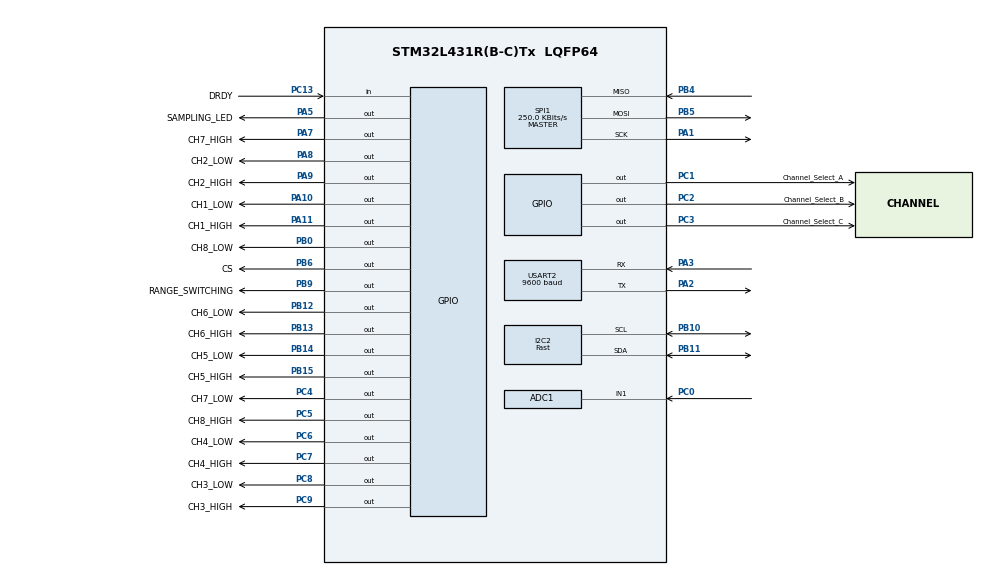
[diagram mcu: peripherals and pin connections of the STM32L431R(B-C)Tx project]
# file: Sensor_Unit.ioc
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ADC1.Channel-1\#ChannelRegularConversion=ADC_CHANNEL_1
ADC1.ClockPrescaler=ADC_CLOCK_ASYNC_DIV6
ADC1.ContinuousConvMode=DISABLE
ADC1.NbrOfConversionFlag=1
ADC1.OffsetNumber-1\#ChannelRegularConversion=ADC_OFFSET_NONE
ADC1.Rank-1\#ChannelRegularConversion=1
ADC1.SamplingTime-1\#ChannelRegularConversion=ADC_SAMPLETIME_2CYCLES_5
ADC1.master=1
I2C2.I2C_Speed_Mode=I2C_Fast
I2C2.Timing=0x00000003
Mcu.Family=STM32L4
Mcu.Name=STM32L431R(B-C)Tx
Mcu.Package=LQFP64
NVIC.PriorityGroup=NVIC_PRIORITYGROUP_4
NVIC.USART2_IRQn=true\:0\:0\:false\:false\:true\:true\:true\:true
PA1.Mode=Full_Duplex_Master
PA1.Signal=SPI1_SCK
PA10.GPIO_Label=CH1_LOW
PA10.Signal=GPIO_Output
PA11.GPIO_Label=CH1_HIGH
PA11.Signal=GPIO_Output
PA13\ (JTMS-SWDIO).Mode=Trace_Asynchronous_SW
PA13\ (JTMS-SWDIO).Signal=SYS_JTMS-SWDIO
PA14\ (JTCK-SWCLK).Mode=Trace_Asynchronous_SW
PA14\ (JTCK-SWCLK).Signal=SYS_JTCK-SWCLK
PA2.Mode=Asynchronous
PA2.Signal=USART2_TX
PA3.Mode=Asynchronous
PA3.Signal=USART2_RX
PA5.GPIO_Label=SAMPLING_LED
PA5.PinState=GPIO_PIN_RESET
PA5.Signal=GPIO_Output
PA7.GPIO_Label=CH7_HIGH
PA7.Signal=GPIO_Output
PA8.GPIO_Label=CH2_LOW
PA8.Signal=GPIO_Output
PA9.GPIO_Label=CH2_HIGH
PA9.Signal=GPIO_Output
PB0.GPIO_Label=CH8_LOW
PB0.Signal=GPIO_Output
PB10.Mode=I2C
PB10.Signal=I2C2_SCL
PB11.Mode=I2C
PB11.Signal=I2C2_SDA
PB12.GPIO_Label=CH6_LOW
PB12.Signal=GPIO_Output
PB13.GPIO_Label=CH6_HIGH
PB13.Signal=GPIO_Output
PB14.GPIO_Label=CH5_LOW
PB14.Signal=GPIO_Output
PB15.GPIO_Label=CH5_HIGH
PB15.Signal=GPIO_Output
PB3\ (JTDO-TRACESWO).Mode=Trace_Asynchronous_SW
PB3\ (JTDO-TRACESWO).Signal=SYS_JTDO-SWO
PB4\ (NJTRST).GPIO_PuPd=GPIO_PULLUP
PB4\ (NJTRST).Mode=Full_Duplex_Master
PB4\ (NJTRST).Signal=SPI1_MISO
PB5.Mode=Full_Duplex_Master
PB5.Signal=SPI1_MOSI
PB6.GPIO_Label=CS
PB6.GPIO_PuPd=GPIO_PULLUP
PB6.PinState=GPIO_PIN_SET
PB6.Signal=GPIO_Output
PB9.GPIO_Label=RANGE_SWITCHING
PB9.Signal=GPIO_Output
PC0.Signal=ADCx_IN1
PC1.GPIO_Label=Channel_Select_A
PC1.Signal=GPIO_Output
PC13.GPIO_Label=DRDY
PC13.Signal=GPIO_Input
PC2.GPIO_Label=Channel_Select_B
PC2.Signal=GPIO_Output
PC3.GPIO_Label=Channel_Select_C
PC3.Signal=GPIO_Output
PC4.GPIO_Label=CH7_LOW
PC4.Signal=GPIO_Output
PC5.GPIO_Label=CH8_HIGH
PC5.Signal=GPIO_Output
PC6.GPIO_Label=CH4_LOW
PC6.Signal=GPIO_Output
PC7.GPIO_Label=CH4_HIGH
PC7.Signal=GPIO_Output
PC8.GPIO_Label=CH3_LOW
PC8.Signal=GPIO_Output
PC9.GPIO_Label=CH3_HIGH
PC9.Signal=GPIO_Output
ProjectManager.HeapSize=0x200
ProjectManager.StackSize=0x400
ProjectManager.TargetToolchain=STM32CubeIDE
RCC.ADCFreq_Value=32000000
RCC.HSE_VALUE=8000000
RCC.HSI48_VALUE=48000000
RCC.HSI_VALUE=16000000
RCC.LSE_VALUE=32768
RCC.MSI_VALUE=4000000
RCC.PLLSAI1N=16
RCC.VCOOutputFreq_Value=32000000
SH.ADCx_IN1.0=ADC1_IN1,IN1-Single-Ended
SPI1.BaudRatePrescaler=SPI_BAUDRATEPRESCALER_16
SPI1.CLKPhase=SPI_PHASE_2EDGE
SPI1.CLKPolarity=SPI_POLARITY_HIGH
SPI1.CalculateBaudRate=250.0 KBits/s
SPI1.DataSize=SPI_DATASIZE_8BIT
SPI1.Direction=SPI_DIRECTION_2LINES
SPI1.Mode=SPI_MODE_MASTER
SPI1.VirtualType=VM_MASTER
USART2.BaudRate=9600
USART2.VirtualMode-Asynchronous=VM_ASYNC
board=custom

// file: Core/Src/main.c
/* USER CODE BEGIN Header */
/**
  ******************************************************************************
  * @file           : main.c
  * @brief          : Main program body
  ******************************************************************************
  * @attention
  *
  * Copyright (c) 2025 STMicroelectronics.
  * All rights reserved.
  *
  * This software is licensed under terms that can be found in the LICENSE file
  * in the root directory of this software component.
  * If no LICENSE file comes with this software, it is provided AS-IS.
  *
  ******************************************************************************
  */
/* USER CODE END Header */
#include "main.h"
#include "adc.h"
#include "i2c.h"
#include "spi.h"
#include "usart.h"
#include "gpio.h"

/* USER CODE BEGIN Includes */
#include "SEGGER_RTT.h"
#include "stdio.h"
#include "stm32l4xx_hal.h"
#include "math.h"
#include "NAU7802.h"
#include "ADXL343.h"
#include "LM335.h"
#include "MUX.h"
#include "sample.h"
#include "alarms.h"
#include "optical.h"
#include "ADS1119.h"
/* USER CODE END Includes */

void SystemClock_Config(void);

int main(void)
{

  /* MCU Configuration--------------------------------------------------------*/

  /* Reset of all peripherals, Initializes the Flash interface and the Systick. */
  HAL_Init();

  /* Configure the system clock */
  SystemClock_Config();

  /* Initialize all configured peripherals */
  MX_GPIO_Init();
  MX_SPI1_Init();
  MX_ADC1_Init();
  MX_I2C2_Init();
  MX_USART2_UART_Init();
  /* USER CODE BEGIN 2 */
  SEGGER_RTT_ConfigUpBuffer(0, NULL, NULL, 0, SEGGER_RTT_MODE_NO_BLOCK_SKIP);
  HAL_Delay(10);

  // Initialise Accelerometer
  ADXL343_Init();

  // Initialise Sampling LED
  HAL_GPIO_WritePin(GPIOA, GPIO_PIN_5, GPIO_PIN_SET);

  // Initialise external ADC
  //NAU7802_Init();
  //ADS1119_Init();
  char buffer[32];

  snprintf(buffer, sizeof(buffer), "Value: %u\r\n", ADS1119_ReadVoltage());
  SEGGER_RTT_WriteString(0, buffer);

  optical_init();

  /* USER CODE END 2 */

  /* Infinite loop */
  while (1)
  {

    /* USER CODE BEGIN 3 */
	  process_optical_data();
//	  char zeros[100] = {0};
//	  HAL_UART_Transmit(&huart2, (uint8_t*)zeros, sizeof(zeros), 100);
  }
  /* USER CODE END 3 */
}

void SystemClock_Config(void)
{
  RCC_OscInitTypeDef RCC_OscInitStruct = {0};
  RCC_ClkInitTypeDef RCC_ClkInitStruct = {0};

  /** Configure the main internal regulator output voltage
  */
  if (HAL_PWREx_ControlVoltageScaling(PWR_REGULATOR_VOLTAGE_SCALE1) != HAL_OK)
  {
    Error_Handler();
  }

  /** Initializes the RCC Oscillators according to the specified parameters
  * in the RCC_OscInitTypeDef structure.
  */
  RCC_OscInitStruct.OscillatorType = RCC_OSCILLATORTYPE_MSI;
  RCC_OscInitStruct.MSIState = RCC_MSI_ON;
  RCC_OscInitStruct.MSICalibrationValue = 0;
  RCC_OscInitStruct.MSIClockRange = RCC_MSIRANGE_6;
  RCC_OscInitStruct.PLL.PLLState = RCC_PLL_NONE;
  if (HAL_RCC_OscConfig(&RCC_OscInitStruct) != HAL_OK)
  {
    Error_Handler();
  }

  /** Initializes the CPU, AHB and APB buses clocks
  */
  RCC_ClkInitStruct.ClockType = RCC_CLOCKTYPE_HCLK|RCC_CLOCKTYPE_SYSCLK
                              |RCC_CLOCKTYPE_PCLK1|RCC_CLOCKTYPE_PCLK2;
  RCC_ClkInitStruct.SYSCLKSource = RCC_SYSCLKSOURCE_MSI;
  RCC_ClkInitStruct.AHBCLKDivider = RCC_SYSCLK_DIV1;
  RCC_ClkInitStruct.APB1CLKDivider = RCC_HCLK_DIV1;
  RCC_ClkInitStruct.APB2CLKDivider = RCC_HCLK_DIV1;

  if (HAL_RCC_ClockConfig(&RCC_ClkInitStruct, FLASH_LATENCY_0) != HAL_OK)
  {
    Error_Handler();
  }
}

void Error_Handler(void)
{
  /* USER CODE BEGIN Error_Handler_Debug */
  /* User can add his own implementation to report the HAL error return state */
	SEGGER_RTT_printf(0, "ERROR FAILED\n");
  __disable_irq();

  while (1)
  {
	  SEGGER_RTT_printf(0, "ERROR FAILED\n");
	  HAL_Delay(1000);

  }
  /* USER CODE END Error_Handler_Debug */
}
